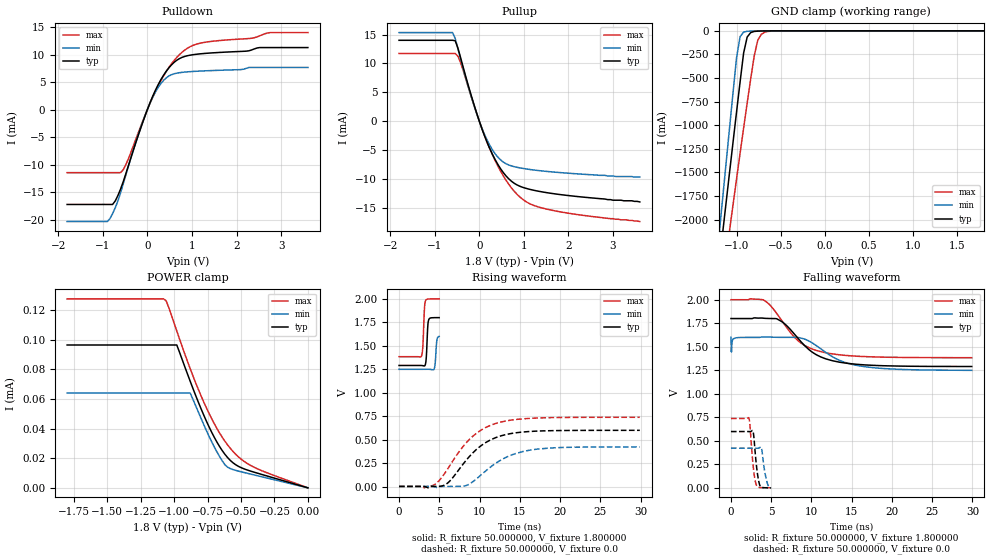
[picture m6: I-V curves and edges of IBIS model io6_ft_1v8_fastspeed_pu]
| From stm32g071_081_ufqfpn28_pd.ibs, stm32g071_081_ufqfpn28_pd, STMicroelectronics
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|   Model io6_ft_1v8_fastspeed_pu
[Model]  io6_ft_1v8_fastspeed_pu
Model_type I/O
Polarity   Non-Inverting
Enable   Active-Low
Vinl =   0.540000V
Vinh =   1.260000V
Vmeas =  0.900000V
Cref =   50.000000pF
Rref =   100.000000M
Vref =   0.0V
C_comp   1.277600pF   1.236700pF   1.315100pF
[Temperature Range]   25.000000   -40.000000   0.125000k
[Pullup Reference]   1.800000V   1.600000V   2.000000V
[Pulldown Reference]   0.0V   0.0V   0.0V
[POWER Clamp Reference]   1.800000V   1.600000V   2.000000V
[GND Clamp Reference]   0.0V   0.0V   0.0V
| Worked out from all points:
|   slope of the pulldown table from 0 to 0.27 V, typ, clamps not added: 54.7 ohm
|   slope of the pullup table from 0 to 0.27 V, typ, clamps not added: 50.6 ohm
|   GND clamp passes 1 mA (typ) near -0.66 V on its own axis
|   rising waveform, R_fixture 50.000000, V_fixture 1.800000: 20-80 % time 165ps typ, 166ps min, 179ps max; typ from 1.29 V to 1.8 V
|   rising waveform, R_fixture 50.000000, V_fixture 0.0: 20-80 % time 4.08ns typ, 4.39ns min, 4.26ns max; typ from 0.001 V to 0.599 V
|   falling waveform, R_fixture 50.000000, V_fixture 1.800000: 20-80 % time 3.93ns typ, 4.45ns min, 3.82ns max; typ from 1.8 V to 1.29 V
|   falling waveform, R_fixture 50.000000, V_fixture 0.0: 20-80 % time 437ps typ, 473ps min, 447ps max; typ from 0.599 V to 0.001 V
[Pulldown]
|Voltage   I(typ)   I(min)   I(max)
-1.8V     -17.22mA   -20.33mA   -11.45mA
-900mV    -17.22mA   -20.33mA   -11.45mA
-720mV    -16.58mA   -17.82mA   -11.45mA
-600mV    -14.41mA   -15.08mA   -11.45mA
-480mV    -11.58mA   -11.79mA   -9.955mA
0V        0A         0A         0A
240mV     4.49mA     3.999mA    4.291mA
480mV     7.563mA    6.085mA    7.612mA
780mV     9.487mA    6.76mA     10.43mA
1.14V     10.08mA    6.976mA    11.96mA
2.76V     11.26mA    7.647mA    13.98mA
3.6V      11.26mA    7.647mA    13.98mA
[Pullup]
|Voltage   I(typ)   I(min)   I(max)
-1.8V     14mA       15.34mA    11.72mA
-600mV    14mA       15.34mA    11.72mA
-540mV    13.93mA    14.32mA    11.72mA
-420mV    11.01mA    10.78mA    10.14mA
-180mV    4.421mA    4.232mA    4.225mA
60mV      -1.349mA   -1.244mA   -1.314mA
300mV     -5.831mA   -5.038mA   -5.917mA
600mV     -9.499mA   -7.385mA   -10.25mA
960mV     -11.43mA   -8.172mA   -13.47mA
1.32V     -12.13mA   -8.557mA   -14.86mA
2.16V     -13.03mA   -9.116mA   -16.14mA
3.6V      -14mA      -9.7mA     -17.4mA
[GND_clamp]
|Voltage   I(typ)   I(min)   I(max)
-1.8V     -7.471A    -7.973A    -7.298A
-1.2V     -2.489A    -2.18A     -2.954A
-1.16V    -2.16A     -1.797A    -2.674A
-1.08V    -1.505A    -1.034A    -2.118A
-1V       -857.9mA   -283.1mA   -1.568A
-960mV    -540.4mA   -62.14mA   -1.296A
-920mV    -234.4mA   -13.75mA   -1.028A
-880mV    -66.29mA   -4.855mA   -765.3mA
-800mV    -6.505mA   -2.056mA   -266mA
-760mV    -3.074mA   -1.45mA    -100.4mA
-680mV    -1.215mA   -557.1uA   -14.19mA
1.8V      0A         0A         0A
[POWER_clamp]
|Voltage   I(typ)   I(min)   I(max)
-1.8V     96.34uA    63.94uA    127.5uA
-1.08V    96.34uA    63.94uA    127.5uA
-1.06V    96.34uA    63.94uA    126.3uA
-980mV    96.34uA    63.94uA    105.8uA
-880mV    71.93uA    63.94uA    80.41uA
-800mV    53.62uA    47.15uA    62.36uA
-720mV    37.64uA    31.24uA    46.77uA
-640mV    25.08uA    18.16uA    34.09uA
-600mV    20.4uA     13.93uA    28.92uA
-520mV    14.54uA    11.31uA    20.97uA
-420mV    11.06uA    9.102uA    14.71uA
0V        0A         0A         0A
[Ramp]
| variable   typ   min   max
dV/dt_r  0.35876/4.07609n   0.25293/4.38488n   0.44186/4.25615n
dV/dt_f  0.30576/3.92632n   0.20982/14.72755n   0.36954/3.81804n
R_load = 50.000000
[Rising Waveform]
R_fixture= 50.000000
V_fixture= 1.800000
V_fixture_min= 1.600000
V_fixture_max= 2.000000
|time   V(typ)   V(min)   V(max)
0s        1.29V      1.249V     1.384V
2.753ns   1.29V      1.249V     1.385V
2.943ns   1.288V     1.25V      1.476V
3.153ns   1.285V     1.25V      1.888V
3.273ns   1.301V     1.25V      1.975V
3.383ns   1.373V     1.25V      1.991V
3.674ns   1.774V     1.25V      1.999V
4.384ns   1.8V       1.258V     2V
4.705ns   1.8V       1.56V      2V
4.985ns   1.8V       1.6V       2V
[Rising Waveform]
R_fixture= 50.000000
V_fixture= 0.0
V_fixture_min= 0.0
V_fixture_max= 0.0
|time   V(typ)   V(min)   V(max)
0s        1.129mV    851.1uV    1.642mV
4.084ns   1.258mV    1.053mV    7.976mV
5.706ns   18.15mV    1.128mV    144.4mV
7.628ns   201.9mV    1.465mV    390.5mV
8.829ns   328.1mV    31.34mV    509.1mV
10.69ns   464.9mV    160.7mV    625.6mV
12.25ns   528.4mV    261.1mV    678.2mV
14.35ns   570.6mV    348mV      712.6mV
17.12ns   590.6mV    398.2mV    730.1mV
29.91ns   599.1mV    422.5mV    738.1mV
[Falling Waveform]
R_fixture= 50.000000
V_fixture= 1.800000
V_fixture_min= 1.600000
V_fixture_max= 2.000000
|time   V(typ)   V(min)   V(max)
0s        1.8V       1.6V       2V
60.06ps   1.8V       1.444V     2V
180.2ps   1.8V       1.567V     2V
420.4ps   1.8V       1.589V     2V
3.964ns   1.804V     1.604V     2V
5.706ns   1.797V     1.601V     1.852V
8.288ns   1.594V     1.599V     1.568V
11.05ns   1.396V     1.485V     1.451V
16.76ns   1.307V     1.287V     1.395V
29.91ns   1.29V      1.249V     1.384V
[Falling Waveform]
R_fixture= 50.000000
V_fixture= 0.0
V_fixture_min= 0.0
V_fixture_max= 0.0
|time   V(typ)   V(min)   V(max)
0s        599.1mV    422.5mV    738.1mV
2.212ns   599.1mV    422.5mV    744.5mV
2.352ns   598.7mV    422.5mV    670.8mV
2.713ns   609mV      422.7mV    274.3mV
2.833ns   552.4mV    422.7mV    177.8mV
3.073ns   316.6mV    422.5mV    54.14mV
3.544ns   38.77mV    426.7mV    4.512mV
3.814ns   5.785mV    414.3mV    3.106mV
4.484ns   1.477mV    61.12mV    2.164mV
4.985ns   1.129mV    851.1uV    1.642mV
